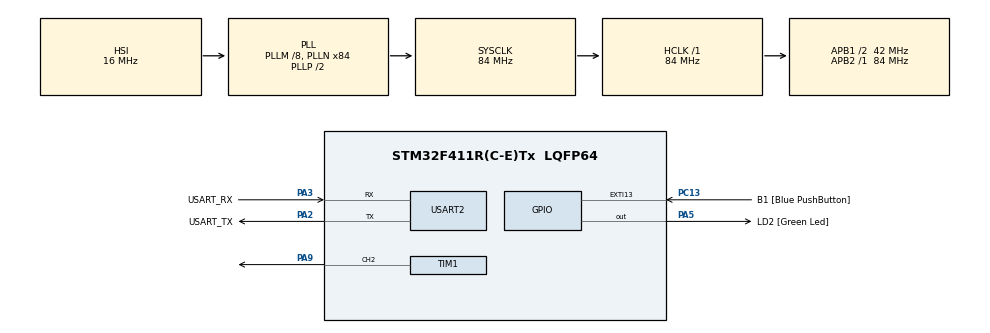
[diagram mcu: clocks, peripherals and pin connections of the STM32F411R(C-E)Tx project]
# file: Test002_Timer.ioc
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Mcu.Family=STM32F4
Mcu.Name=STM32F411R(C-E)Tx
Mcu.Package=LQFP64
NVIC.EXTI15_10_IRQn=true\:0\:0\:false\:false\:true\:true\:true\:true
NVIC.PriorityGroup=NVIC_PRIORITYGROUP_0
NVIC.TIM2_IRQn=true\:0\:0\:false\:false\:true\:true\:true\:true
NVIC.TIM3_IRQn=true\:0\:0\:false\:false\:true\:true\:true\:true
NVIC.TIM4_IRQn=true\:0\:0\:false\:false\:true\:true\:true\:true
PA13.GPIO_Label=TMS
PA13.Mode=Serial_Wire
PA13.Signal=SYS_JTMS-SWDIO
PA14.GPIO_Label=TCK
PA14.Mode=Serial_Wire
PA14.Signal=SYS_JTCK-SWCLK
PA2.GPIO_Label=USART_TX
PA2.Mode=Asynchronous
PA2.Signal=USART2_TX
PA3.GPIO_Label=USART_RX
PA3.Mode=Asynchronous
PA3.Signal=USART2_RX
PA5.GPIO_Label=LD2 [Green Led]
PA5.Signal=GPIO_Output
PA9.Signal=S_TIM1_CH2
PB3.GPIO_Label=SWO
PB3.Signal=SYS_JTDO-SWO
PC13-ANTI_TAMP.GPIO_Label=B1 [Blue PushButton]
PC13-ANTI_TAMP.GPIO_ModeDefaultEXTI=GPIO_MODE_IT_FALLING
PC13-ANTI_TAMP.Signal=GPXTI13
PC14-OSC32_IN.Mode=LSE-External-Oscillator
PC14-OSC32_IN.Signal=RCC_OSC32_IN
PC15-OSC32_OUT.Mode=LSE-External-Oscillator
PC15-OSC32_OUT.Signal=RCC_OSC32_OUT
PH0\ -\ OSC_IN.Mode=HSE-External-Clock-Source
PH0\ -\ OSC_IN.Signal=RCC_OSC_IN
PH1\ -\ OSC_OUT.Mode=HSE-External-Clock-Source
PH1\ -\ OSC_OUT.Signal=RCC_OSC_OUT
ProjectManager.HeapSize=0x200
ProjectManager.StackSize=0x400
ProjectManager.TargetToolchain=STM32CubeIDE
RCC.48MHZClocksFreq_Value=42000000
RCC.AHBFreq_Value=84000000
RCC.APB1CLKDivider=RCC_HCLK_DIV2
RCC.APB1Freq_Value=42000000
RCC.APB1TimFreq_Value=84000000
RCC.APB2Freq_Value=84000000
RCC.APB2TimFreq_Value=84000000
RCC.CortexFreq_Value=84000000
RCC.FLatency-AdvancedSettings=FLASH_LATENCY_2
RCC.HCLKFreq_Value=84000000
RCC.HSE_VALUE=8000000
RCC.HSI_VALUE=16000000
RCC.PLLM=8
RCC.PLLN=84
RCC.SYSCLKFreq_VALUE=84000000
RCC.SYSCLKSource=RCC_SYSCLKSOURCE_PLLCLK
RCC.VCOOutputFreq_Value=168000000
SH.S_TIM1_CH2.0=TIM1_CH2,PWM Generation2 CH2
TIM1.Channel-PWM\ Generation2\ CH2=TIM_CHANNEL_2
TIM1.Period=100-1
TIM1.Prescaler=840-1
TIM2.Period=2000-1
TIM2.Prescaler=8400-1
TIM3.Period=30000-1
TIM3.Prescaler=8400-1
TIM4.Period=50000-1
TIM4.Prescaler=8400-1
USART2.VirtualMode=VM_ASYNC
VP_TIM1_VS_ClockSourceINT.Mode=Internal
VP_TIM2_VS_ClockSourceINT.Mode=Internal
VP_TIM3_VS_ClockSourceINT.Mode=Internal
VP_TIM4_VS_ClockSourceINT.Mode=Internal
board=NUCLEO-F411RE

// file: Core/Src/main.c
/* USER CODE BEGIN Header */
/**
  ******************************************************************************
  * @file           : main.c
  * @brief          : Main program body
  ******************************************************************************
  * @attention
  *
  * Copyright (c) 2024 STMicroelectronics.
  * All rights reserved.
  *
  * This software is licensed under terms that can be found in the LICENSE file
  * in the root directory of this software component.
  * If no LICENSE file comes with this software, it is provided AS-IS.
  *
  ******************************************************************************
  */
/* USER CODE END Header */
#include "main.h"

TIM_HandleTypeDef htim1;
TIM_HandleTypeDef htim2;
TIM_HandleTypeDef htim3;
TIM_HandleTypeDef htim4;

UART_HandleTypeDef huart2;

void SystemClock_Config(void);
static void MX_GPIO_Init(void);
static void MX_USART2_UART_Init(void);
static void MX_TIM3_Init(void);
static void MX_TIM1_Init(void);
static void MX_TIM2_Init(void);
static void MX_TIM4_Init(void);

/* USER CODE BEGIN 0 */
int count3 = 0;
int count2 = 0;
int op = 0;
int x = 30, y = 10;

void CCR_OP()
{
	if(++op > 100) op = 0;
	printf("\033[%d;%dHCurrent CCR : %d    \r\n", y, x, op);
}
void HAL_TIM_PeriodElapsedCallback(TIM_HandleTypeDef *htim)
{
	if(htim == &htim2)
	{
		CCR_OP();
		//printf("Timer2 elapsed.....%d...Press B1 to continue\r\n", count2++);
	}
	else if(htim == &htim3)
	{
		printf(" >>>>> Timer3 elapsed.....\r\n");
	}
	else if(htim == &htim4)
	{
		printf("	Timer4 elapsed.....%d\r\n", count3++);
	}

}
void HAL_GPIO_EXTI_Callback(uint16_t GPIO_Pin)
{
	CCR_OP();
}
/* USER CODE END 0 */

int main(void)
{

  /* MCU Configuration--------------------------------------------------------*/

  /* Reset of all peripherals, Initializes the Flash interface and the Systick. */
  HAL_Init();

  /* Configure the system clock */
  SystemClock_Config();

  /* Initialize all configured peripherals */
  MX_GPIO_Init();
  MX_USART2_UART_Init();
  MX_TIM3_Init();
  MX_TIM1_Init();
  MX_TIM2_Init();
  MX_TIM4_Init();
  /* USER CODE BEGIN 2 */
  ProgramStart("Timer2");   // B1 to start.

  op = 0;

  //HAL_TIM_Base_Start_IT (&htim3);	// IT => interrupt start
  HAL_TIM_Base_Start_IT (&htim2);
  HAL_TIM_PWM_Start(&htim1, TIM_CHANNEL_2);
  /* USER CODE END 2 */

  /* Infinite loop */
  /* USER CODE BEGIN WHILE */
  int mode = 1;
  while (1)
  {
    /* USER CODE END WHILE */

    /* USER CODE BEGIN 3 */
	  htim1.Instance->CCR2 = op;
	  if(mode == 1)
	 	 	  {
	 	 	  HAL_GPIO_WritePin(LD2_GPIO_Port, LD2_Pin, 1); // PA5
	 	 	  HAL_Delay(2500); //  500ms
	 	 	  HAL_GPIO_WritePin(LD2_GPIO_Port, LD2_Pin, 0);
	 	 	  HAL_Delay(2500); //  500ms
	 	 	  }
  }
  /* USER CODE END 3 */
}

void SystemClock_Config(void)
{
  RCC_OscInitTypeDef RCC_OscInitStruct = {0};
  RCC_ClkInitTypeDef RCC_ClkInitStruct = {0};

  /** Configure the main internal regulator output voltage
  */
  __HAL_RCC_PWR_CLK_ENABLE();
  __HAL_PWR_VOLTAGESCALING_CONFIG(PWR_REGULATOR_VOLTAGE_SCALE1);

  /** Initializes the RCC Oscillators according to the specified parameters
  * in the RCC_OscInitTypeDef structure.
  */
  RCC_OscInitStruct.OscillatorType = RCC_OSCILLATORTYPE_HSI;
  RCC_OscInitStruct.HSIState = RCC_HSI_ON;
  RCC_OscInitStruct.HSICalibrationValue = RCC_HSICALIBRATION_DEFAULT;
  RCC_OscInitStruct.PLL.PLLState = RCC_PLL_ON;
  RCC_OscInitStruct.PLL.PLLSource = RCC_PLLSOURCE_HSI;
  RCC_OscInitStruct.PLL.PLLM = 8;
  RCC_OscInitStruct.PLL.PLLN = 84;
  RCC_OscInitStruct.PLL.PLLP = RCC_PLLP_DIV2;
  RCC_OscInitStruct.PLL.PLLQ = 4;
  if (HAL_RCC_OscConfig(&RCC_OscInitStruct) != HAL_OK)
  {
    Error_Handler();
  }

  /** Initializes the CPU, AHB and APB buses clocks
  */
  RCC_ClkInitStruct.ClockType = RCC_CLOCKTYPE_HCLK|RCC_CLOCKTYPE_SYSCLK
                              |RCC_CLOCKTYPE_PCLK1|RCC_CLOCKTYPE_PCLK2;
  RCC_ClkInitStruct.SYSCLKSource = RCC_SYSCLKSOURCE_PLLCLK;
  RCC_ClkInitStruct.AHBCLKDivider = RCC_SYSCLK_DIV1;
  RCC_ClkInitStruct.APB1CLKDivider = RCC_HCLK_DIV2;
  RCC_ClkInitStruct.APB2CLKDivider = RCC_HCLK_DIV1;

  if (HAL_RCC_ClockConfig(&RCC_ClkInitStruct, FLASH_LATENCY_2) != HAL_OK)
  {
    Error_Handler();
  }
}

static void MX_TIM1_Init(void)
{

  TIM_ClockConfigTypeDef sClockSourceConfig = {0};
  TIM_MasterConfigTypeDef sMasterConfig = {0};
  TIM_OC_InitTypeDef sConfigOC = {0};
  TIM_BreakDeadTimeConfigTypeDef sBreakDeadTimeConfig = {0};

  htim1.Instance = TIM1;
  htim1.Init.Prescaler = 840-1;
  htim1.Init.CounterMode = TIM_COUNTERMODE_UP;
  htim1.Init.Period = 100-1;
  htim1.Init.ClockDivision = TIM_CLOCKDIVISION_DIV1;
  htim1.Init.RepetitionCounter = 0;
  htim1.Init.AutoReloadPreload = TIM_AUTORELOAD_PRELOAD_DISABLE;
  if (HAL_TIM_Base_Init(&htim1) != HAL_OK)
  {
    Error_Handler();
  }
  sClockSourceConfig.ClockSource = TIM_CLOCKSOURCE_INTERNAL;
  if (HAL_TIM_ConfigClockSource(&htim1, &sClockSourceConfig) != HAL_OK)
  {
    Error_Handler();
  }
  if (HAL_TIM_PWM_Init(&htim1) != HAL_OK)
  {
    Error_Handler();
  }
  sMasterConfig.MasterOutputTrigger = TIM_TRGO_RESET;
  sMasterConfig.MasterSlaveMode = TIM_MASTERSLAVEMODE_DISABLE;
  if (HAL_TIMEx_MasterConfigSynchronization(&htim1, &sMasterConfig) != HAL_OK)
  {
    Error_Handler();
  }
  sConfigOC.OCMode = TIM_OCMODE_PWM1;
  sConfigOC.Pulse = 0;
  sConfigOC.OCPolarity = TIM_OCPOLARITY_HIGH;
  sConfigOC.OCNPolarity = TIM_OCNPOLARITY_HIGH;
  sConfigOC.OCFastMode = TIM_OCFAST_DISABLE;
  sConfigOC.OCIdleState = TIM_OCIDLESTATE_RESET;
  sConfigOC.OCNIdleState = TIM_OCNIDLESTATE_RESET;
  if (HAL_TIM_PWM_ConfigChannel(&htim1, &sConfigOC, TIM_CHANNEL_2) != HAL_OK)
  {
    Error_Handler();
  }
  sBreakDeadTimeConfig.OffStateRunMode = TIM_OSSR_DISABLE;
  sBreakDeadTimeConfig.OffStateIDLEMode = TIM_OSSI_DISABLE;
  sBreakDeadTimeConfig.LockLevel = TIM_LOCKLEVEL_OFF;
  sBreakDeadTimeConfig.DeadTime = 0;
  sBreakDeadTimeConfig.BreakState = TIM_BREAK_DISABLE;
  sBreakDeadTimeConfig.BreakPolarity = TIM_BREAKPOLARITY_HIGH;
  sBreakDeadTimeConfig.AutomaticOutput = TIM_AUTOMATICOUTPUT_DISABLE;
  if (HAL_TIMEx_ConfigBreakDeadTime(&htim1, &sBreakDeadTimeConfig) != HAL_OK)
  {
    Error_Handler();
  }
  HAL_TIM_MspPostInit(&htim1);

}

static void MX_TIM2_Init(void)
{

  TIM_ClockConfigTypeDef sClockSourceConfig = {0};
  TIM_MasterConfigTypeDef sMasterConfig = {0};

  htim2.Instance = TIM2;
  htim2.Init.Prescaler = 8400-1;
  htim2.Init.CounterMode = TIM_COUNTERMODE_UP;
  htim2.Init.Period = 2000-1;
  htim2.Init.ClockDivision = TIM_CLOCKDIVISION_DIV1;
  htim2.Init.AutoReloadPreload = TIM_AUTORELOAD_PRELOAD_DISABLE;
  if (HAL_TIM_Base_Init(&htim2) != HAL_OK)
  {
    Error_Handler();
  }
  sClockSourceConfig.ClockSource = TIM_CLOCKSOURCE_INTERNAL;
  if (HAL_TIM_ConfigClockSource(&htim2, &sClockSourceConfig) != HAL_OK)
  {
    Error_Handler();
  }
  sMasterConfig.MasterOutputTrigger = TIM_TRGO_RESET;
  sMasterConfig.MasterSlaveMode = TIM_MASTERSLAVEMODE_DISABLE;
  if (HAL_TIMEx_MasterConfigSynchronization(&htim2, &sMasterConfig) != HAL_OK)
  {
    Error_Handler();
  }

}

static void MX_TIM3_Init(void)
{

  TIM_ClockConfigTypeDef sClockSourceConfig = {0};
  TIM_MasterConfigTypeDef sMasterConfig = {0};

  htim3.Instance = TIM3;
  htim3.Init.Prescaler = 8400-1;
  htim3.Init.CounterMode = TIM_COUNTERMODE_UP;
  htim3.Init.Period = 30000-1;
  htim3.Init.ClockDivision = TIM_CLOCKDIVISION_DIV1;
  htim3.Init.AutoReloadPreload = TIM_AUTORELOAD_PRELOAD_DISABLE;
  if (HAL_TIM_Base_Init(&htim3) != HAL_OK)
  {
    Error_Handler();
  }
  sClockSourceConfig.ClockSource = TIM_CLOCKSOURCE_INTERNAL;
  if (HAL_TIM_ConfigClockSource(&htim3, &sClockSourceConfig) != HAL_OK)
  {
    Error_Handler();
  }
  sMasterConfig.MasterOutputTrigger = TIM_TRGO_RESET;
  sMasterConfig.MasterSlaveMode = TIM_MASTERSLAVEMODE_DISABLE;
  if (HAL_TIMEx_MasterConfigSynchronization(&htim3, &sMasterConfig) != HAL_OK)
  {
    Error_Handler();
  }

}

static void MX_TIM4_Init(void)
{

  TIM_ClockConfigTypeDef sClockSourceConfig = {0};
  TIM_MasterConfigTypeDef sMasterConfig = {0};

  htim4.Instance = TIM4;
  htim4.Init.Prescaler = 8400-1;
  htim4.Init.CounterMode = TIM_COUNTERMODE_UP;
  htim4.Init.Period = 50000-1;
  htim4.Init.ClockDivision = TIM_CLOCKDIVISION_DIV1;
  htim4.Init.AutoReloadPreload = TIM_AUTORELOAD_PRELOAD_DISABLE;
  if (HAL_TIM_Base_Init(&htim4) != HAL_OK)
  {
    Error_Handler();
  }
  sClockSourceConfig.ClockSource = TIM_CLOCKSOURCE_INTERNAL;
  if (HAL_TIM_ConfigClockSource(&htim4, &sClockSourceConfig) != HAL_OK)
  {
    Error_Handler();
  }
  sMasterConfig.MasterOutputTrigger = TIM_TRGO_RESET;
  sMasterConfig.MasterSlaveMode = TIM_MASTERSLAVEMODE_DISABLE;
  if (HAL_TIMEx_MasterConfigSynchronization(&htim4, &sMasterConfig) != HAL_OK)
  {
    Error_Handler();
  }

}

static void MX_USART2_UART_Init(void)
{

  huart2.Instance = USART2;
  huart2.Init.BaudRate = 115200;
  huart2.Init.WordLength = UART_WORDLENGTH_8B;
  huart2.Init.StopBits = UART_STOPBITS_1;
  huart2.Init.Parity = UART_PARITY_NONE;
  huart2.Init.Mode = UART_MODE_TX_RX;
  huart2.Init.HwFlowCtl = UART_HWCONTROL_NONE;
  huart2.Init.OverSampling = UART_OVERSAMPLING_16;
  if (HAL_UART_Init(&huart2) != HAL_OK)
  {
    Error_Handler();
  }

}

static void MX_GPIO_Init(void)
{
  GPIO_InitTypeDef GPIO_InitStruct = {0};

  /* GPIO Ports Clock Enable */
  __HAL_RCC_GPIOC_CLK_ENABLE();
  __HAL_RCC_GPIOH_CLK_ENABLE();
  __HAL_RCC_GPIOA_CLK_ENABLE();
  __HAL_RCC_GPIOB_CLK_ENABLE();

  /*Configure GPIO pin Output Level */
  HAL_GPIO_WritePin(LD2_GPIO_Port, LD2_Pin, GPIO_PIN_RESET);

  /*Configure GPIO pin : B1_Pin */
  GPIO_InitStruct.Pin = B1_Pin;
  GPIO_InitStruct.Mode = GPIO_MODE_IT_FALLING;
  GPIO_InitStruct.Pull = GPIO_NOPULL;
  HAL_GPIO_Init(B1_GPIO_Port, &GPIO_InitStruct);

  /*Configure GPIO pin : LD2_Pin */
  GPIO_InitStruct.Pin = LD2_Pin;
  GPIO_InitStruct.Mode = GPIO_MODE_OUTPUT_PP;
  GPIO_InitStruct.Pull = GPIO_NOPULL;
  GPIO_InitStruct.Speed = GPIO_SPEED_FREQ_LOW;
  HAL_GPIO_Init(LD2_GPIO_Port, &GPIO_InitStruct);

  /* EXTI interrupt init*/
  HAL_NVIC_SetPriority(EXTI15_10_IRQn, 0, 0);
  HAL_NVIC_EnableIRQ(EXTI15_10_IRQn);

}

void Error_Handler(void)
{
  __disable_irq();
  while (1)
  {
  }
}
